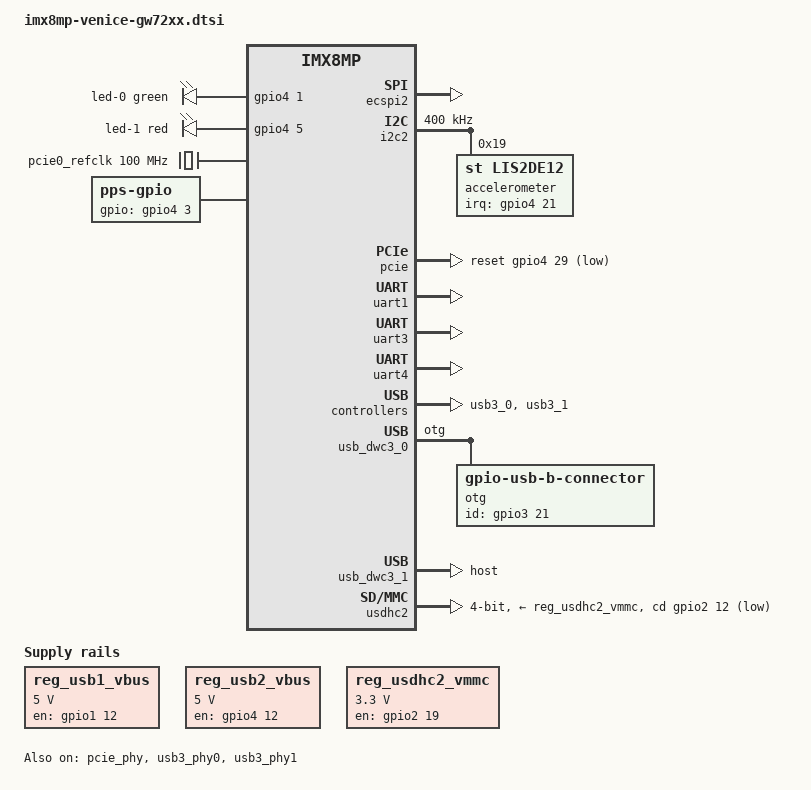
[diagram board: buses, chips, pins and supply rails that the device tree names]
// SPDX-License-Identifier: (GPL-2.0+ OR MIT)
/*
 * Copyright 2023 Gateworks Corporation
 */

#include <dt-bindings/gpio/gpio.h>
#include <dt-bindings/leds/common.h>
#include <dt-bindings/phy/phy-imx8-pcie.h>

/ {
	led-controller {
		compatible = "gpio-leds";
		pinctrl-names = "default";
		pinctrl-0 = <&pinctrl_gpio_leds>;

		led-0 {
			function = LED_FUNCTION_STATUS;
			color = <LED_COLOR_ID_GREEN>;
			gpios = <&gpio4 1 GPIO_ACTIVE_HIGH>;
			default-state = "on";
			linux,default-trigger = "heartbeat";
		};

		led-1 {
			function = LED_FUNCTION_STATUS;
			color = <LED_COLOR_ID_RED>;
			gpios = <&gpio4 5 GPIO_ACTIVE_HIGH>;
			default-state = "off";
		};
	};

	pcie0_refclk: clock-pcie0 {
		compatible = "fixed-clock";
		#clock-cells = <0>;
		clock-frequency = <100000000>;
	};

	pps {
		compatible = "pps-gpio";
		pinctrl-names = "default";
		pinctrl-0 = <&pinctrl_pps>;
		gpios = <&gpio4 3 GPIO_ACTIVE_HIGH>;
		status = "okay";
	};

	reg_usb1_vbus: regulator-usb1 {
		compatible = "regulator-fixed";
		pinctrl-names = "default";
		pinctrl-0 = <&pinctrl_reg_usb1_en>;
		regulator-name = "usb1_vbus";
		gpio = <&gpio1 12 GPIO_ACTIVE_HIGH>;
		enable-active-high;
		regulator-min-microvolt = <5000000>;
		regulator-max-microvolt = <5000000>;
	};

	reg_usb2_vbus: regulator-usb2 {
		compatible = "regulator-fixed";
		pinctrl-names = "default";
		pinctrl-0 = <&pinctrl_reg_usb2_en>;
		regulator-name = "usb2_vbus";
		gpio = <&gpio4 12 GPIO_ACTIVE_HIGH>;
		enable-active-high;
		regulator-min-microvolt = <5000000>;
		regulator-max-microvolt = <5000000>;
	};

	reg_usdhc2_vmmc: regulator-usdhc2-vmmc {
		compatible = "regulator-fixed";
		pinctrl-names = "default";
		pinctrl-0 = <&pinctrl_usdhc2_vmmc>;
		regulator-name = "VDD_3V3_SD";
		enable-active-high;
		gpio = <&gpio2 19 0>; /* SD2_RESET */
		off-on-delay-us = <12000>;
		regulator-max-microvolt = <3300000>;
		regulator-min-microvolt = <3300000>;
		startup-delay-us = <100>;
	};
};

/* off-board header */
&ecspi2 {
	pinctrl-names = "default";
	pinctrl-0 = <&pinctrl_spi2>;
	cs-gpios = <&gpio5 13 GPIO_ACTIVE_LOW>;
	status = "okay";
};

&gpio4 {
	gpio-line-names =
		"", "", "", "",
		"", "", "", "",
		"dio1", "", "", "dio0",
		"", "", "pci_usb_sel", "",
		"", "", "", "",
		"", "", "rs485_en", "rs485_term",
		"", "", "", "rs485_half",
		"pci_wdis#", "", "", "";
};

&i2c2 {
	clock-frequency = <400000>;
	pinctrl-names = "default";
	pinctrl-0 = <&pinctrl_i2c2>;
	status = "okay";

	accelerometer@19 {
		compatible = "st,lis2de12";
		reg = <0x19>;
		pinctrl-names = "default";
		pinctrl-0 = <&pinctrl_accel>;
		st,drdy-int-pin = <1>;
		interrupt-parent = <&gpio4>;
		interrupts = <21 IRQ_TYPE_LEVEL_LOW>;
		interrupt-names = "INT1";
	};
};

&pcie_phy {
	fsl,refclk-pad-mode = <IMX8_PCIE_REFCLK_PAD_INPUT>;
	fsl,clkreq-unsupported;
	clocks = <&pcie0_refclk>;
	clock-names = "ref";
	status = "okay";
};

&pcie {
	pinctrl-names = "default";
	pinctrl-0 = <&pinctrl_pcie0>;
	reset-gpio = <&gpio4 29 GPIO_ACTIVE_LOW>;
	status = "okay";
};

/* GPS */
&uart1 {
	pinctrl-names = "default";
	pinctrl-0 = <&pinctrl_uart1>;
	status = "okay";
};

/* off-board header */
&uart3 {
	pinctrl-names = "default";
	pinctrl-0 = <&pinctrl_uart3>;
	status = "okay";
};

/* RS232 */
&uart4 {
	pinctrl-names = "default";
	pinctrl-0 = <&pinctrl_uart4>;
	status = "okay";
};

/* USB1 - OTG */
&usb3_0 {
	pinctrl-names = "default";
	pinctrl-0 = <&pinctrl_usb1>;
	fsl,over-current-active-low;
	status = "okay";
};

&usb3_phy0 {
	vbus-supply = <&reg_usb1_vbus>;
	status = "okay";
};

&usb_dwc3_0 {
	/* dual role is implemented but not a full featured OTG */
	adp-disable;
	hnp-disable;
	srp-disable;
	dr_mode = "otg";
	usb-role-switch;
	role-switch-default-mode = "peripheral";
	status = "okay";

	connector {
		compatible = "gpio-usb-b-connector", "usb-b-connector";
		pinctrl-names = "default";
		pinctrl-0 = <&pinctrl_usbcon1>;
		type = "micro";
		label = "otg";
		id-gpios = <&gpio3 21 GPIO_ACTIVE_HIGH>;
	};
};

/* USB2 - USB3.0 Hub */
&usb3_1 {
	fsl,permanently-attached;
	fsl,disable-port-power-control;
	status = "okay";
};

&usb3_phy1 {
	vbus-supply = <&reg_usb2_vbus>;
	status = "okay";
};

&usb_dwc3_1 {
	dr_mode = "host";
	status = "okay";
};

/* microSD */
&usdhc2 {
	pinctrl-names = "default", "state_100mhz", "state_200mhz";
	pinctrl-0 = <&pinctrl_usdhc2>, <&pinctrl_usdhc2_gpio>;
	pinctrl-1 = <&pinctrl_usdhc2_100mhz>, <&pinctrl_usdhc2_gpio>;
	pinctrl-2 = <&pinctrl_usdhc2_200mhz>, <&pinctrl_usdhc2_gpio>;
	cd-gpios = <&gpio2 12 GPIO_ACTIVE_LOW>;
	bus-width = <4>;
	vmmc-supply = <&reg_usdhc2_vmmc>;
	status = "okay";
};

&iomuxc {
	pinctrl-names = "default";
	pinctrl-0 = <&pinctrl_hog>;

	pinctrl_hog: hoggrp {
		fsl,pins = <
			MX8MP_IOMUXC_SAI1_RXD6__GPIO4_IO08	0x40000146 /* DIO1 */
			MX8MP_IOMUXC_SAI1_TXC__GPIO4_IO11	0x40000146 /* DIO0 */
			MX8MP_IOMUXC_SAI1_TXD2__GPIO4_IO14	0x40000106 /* PCIE_USBSEL */
			MX8MP_IOMUXC_SAI2_MCLK__GPIO4_IO27	0x40000106 /* RS485_HALF */
			MX8MP_IOMUXC_SAI2_RXC__GPIO4_IO22	0x40000106 /* RS485_EN */
			MX8MP_IOMUXC_SAI2_RXD0__GPIO4_IO23	0x40000106 /* RS485_TERM */
			MX8MP_IOMUXC_SAI3_RXFS__GPIO4_IO28	0x40000106 /* PCIE_WDIS# */
		>;
	};

	pinctrl_accel: accelgrp {
		fsl,pins = <
			MX8MP_IOMUXC_SAI2_RXFS__GPIO4_IO21	0x150	/* IRQ */
		>;
	};

	pinctrl_gpio_leds: gpioledgrp {
		fsl,pins = <
			MX8MP_IOMUXC_SAI1_RXC__GPIO4_IO01	0x6	/* LEDG */
			MX8MP_IOMUXC_SAI1_RXD3__GPIO4_IO05	0x6	/* LEDR */
		>;
	};

	pinctrl_pcie0: pcie0grp {
		fsl,pins = <
			MX8MP_IOMUXC_SAI3_RXC__GPIO4_IO29	0x106
		>;
	};

	pinctrl_pps: ppsgrp {
		fsl,pins = <
			MX8MP_IOMUXC_SAI1_RXD1__GPIO4_IO03	0x146
		>;
	};

	pinctrl_reg_usb1_en: regusb1grp {
		fsl,pins = <
			MX8MP_IOMUXC_GPIO1_IO12__GPIO1_IO12	0x146 /* USB1_EN */
		>;
	};

	pinctrl_usb1: usb1grp {
		fsl,pins = <
			MX8MP_IOMUXC_GPIO1_IO13__USB1_OTG_OC	0x140 /* USB1_FLT# */
		>;
	};

	pinctrl_usbcon1: usbcon1grp {
		fsl,pins = <
			MX8MP_IOMUXC_SAI5_RXD0__GPIO3_IO21	0x140 /* USB1_ID */
		>;
	};

	pinctrl_reg_usb2_en: regusb2grp {
		fsl,pins = <
			MX8MP_IOMUXC_SAI1_TXD0__GPIO4_IO12	0x146 /* USBHUB_RST# */
		>;
	};

	pinctrl_spi2: spi2grp {
		fsl,pins = <
			MX8MP_IOMUXC_ECSPI2_SCLK__ECSPI2_SCLK	0x140
			MX8MP_IOMUXC_ECSPI2_MOSI__ECSPI2_MOSI	0x140
			MX8MP_IOMUXC_ECSPI2_MISO__ECSPI2_MISO	0x140
			MX8MP_IOMUXC_ECSPI2_SS0__GPIO5_IO13	0x140
		>;
	};

	pinctrl_uart1: uart1grp {
		fsl,pins = <
			MX8MP_IOMUXC_UART1_RXD__UART1_DCE_RX	0x140
			MX8MP_IOMUXC_UART1_TXD__UART1_DCE_TX	0x140
		>;
	};

	pinctrl_uart3: uart3grp {
		fsl,pins = <
			MX8MP_IOMUXC_UART3_RXD__UART3_DCE_RX	0x140
			MX8MP_IOMUXC_UART3_TXD__UART3_DCE_TX	0x140
		>;
	};

	pinctrl_uart4: uart4grp {
		fsl,pins = <
			MX8MP_IOMUXC_UART4_RXD__UART4_DCE_RX	0x140
			MX8MP_IOMUXC_UART4_TXD__UART4_DCE_TX	0x140
		>;
	};

	pinctrl_usdhc1: usdhc1grp {
		fsl,pins = <
			MX8MP_IOMUXC_SD1_CLK__USDHC1_CLK	0x190
			MX8MP_IOMUXC_SD1_CMD__USDHC1_CMD	0x1d0
			MX8MP_IOMUXC_SD1_DATA0__USDHC1_DATA0	0x1d0
			MX8MP_IOMUXC_SD1_DATA1__USDHC1_DATA1	0x1d0
			MX8MP_IOMUXC_SD1_DATA2__USDHC1_DATA2	0x1d0
			MX8MP_IOMUXC_SD1_DATA3__USDHC1_DATA3	0x1d0
		>;
	};

	pinctrl_usdhc2: usdhc2grp {
		fsl,pins = <
			MX8MP_IOMUXC_SD2_CLK__USDHC2_CLK	0x190
			MX8MP_IOMUXC_SD2_CMD__USDHC2_CMD	0x1d0
			MX8MP_IOMUXC_SD2_DATA0__USDHC2_DATA0	0x1d0
			MX8MP_IOMUXC_SD2_DATA1__USDHC2_DATA1	0x1d0
			MX8MP_IOMUXC_SD2_DATA2__USDHC2_DATA2	0x1d0
			MX8MP_IOMUXC_SD2_DATA3__USDHC2_DATA3	0x1d0
			MX8MP_IOMUXC_GPIO1_IO04__USDHC2_VSELECT	0xc1
		>;
	};

	pinctrl_usdhc2_100mhz: usdhc2-100mhzgrp {
		fsl,pins = <
			MX8MP_IOMUXC_SD2_CLK__USDHC2_CLK	0x194
			MX8MP_IOMUXC_SD2_CMD__USDHC2_CMD	0x1d4
			MX8MP_IOMUXC_SD2_DATA0__USDHC2_DATA0	0x1d4
			MX8MP_IOMUXC_SD2_DATA1__USDHC2_DATA1	0x1d4
			MX8MP_IOMUXC_SD2_DATA2__USDHC2_DATA2	0x1d4
			MX8MP_IOMUXC_SD2_DATA3__USDHC2_DATA3	0x1d4
			MX8MP_IOMUXC_GPIO1_IO04__USDHC2_VSELECT	0xc1
		>;
	};

	pinctrl_usdhc2_200mhz: usdhc2-200mhzgrp {
		fsl,pins = <
			MX8MP_IOMUXC_SD2_CLK__USDHC2_CLK	0x196
			MX8MP_IOMUXC_SD2_CMD__USDHC2_CMD	0x1d6
			MX8MP_IOMUXC_SD2_DATA0__USDHC2_DATA0	0x1d6
			MX8MP_IOMUXC_SD2_DATA1__USDHC2_DATA1	0x1d6
			MX8MP_IOMUXC_SD2_DATA2__USDHC2_DATA2	0x1d6
			MX8MP_IOMUXC_SD2_DATA3__USDHC2_DATA3	0x1d6
			MX8MP_IOMUXC_GPIO1_IO04__USDHC2_VSELECT	0xc1
		>;
	};

	pinctrl_usdhc2_vmmc: usdhc2-vmmc-grp {
		fsl,pins = <
			MX8MP_IOMUXC_SD2_RESET_B__USDHC2_RESET_B	0x1d0
		>;
	};

	pinctrl_usdhc2_gpio: usdhc2gpiogrp {
		fsl,pins = <
			MX8MP_IOMUXC_SD2_CD_B__GPIO2_IO12		0x1c4
		>;
	};
};
